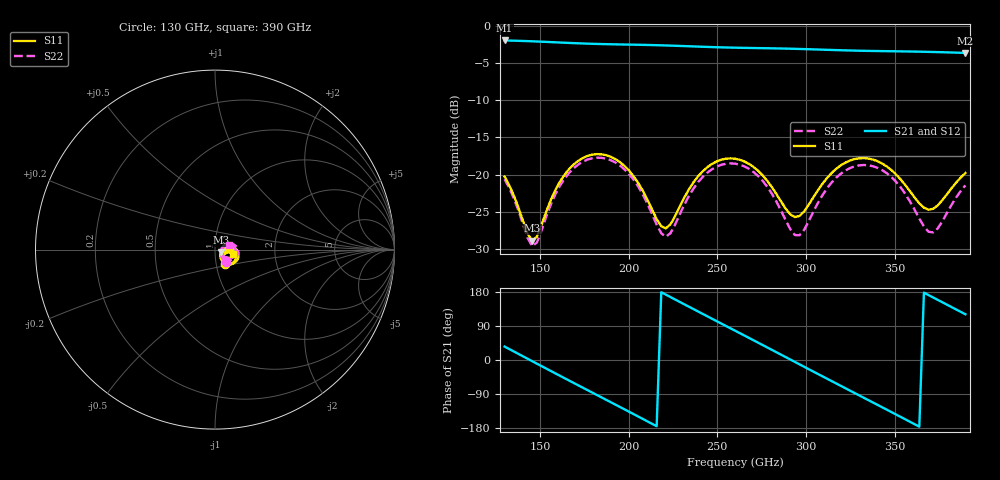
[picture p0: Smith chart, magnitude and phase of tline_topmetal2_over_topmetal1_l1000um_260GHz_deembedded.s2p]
! Created with skrf 2.0.1 (http://scikit-rf.org).
# GHz S DB R 50.0
!freq dBS11 angS11 dBS21 angS21 dBS12 angS12 dBS22 angS22
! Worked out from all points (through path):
!   101 points, 130 GHz to 390 GHz, reference 50 ohm
!   highest |S21| = -1.91 dB at 130 GHz (marker M1); lowest = -3.6 dB at 390 GHz (marker M2)
!   group delay of S21, straight-line fit = 6.78 ps
!   lowest |S11| = -28.9 dB at 145.6 GHz (marker M3), VSWR 1.07, Z = 53.3 - j1.57 ohm
!   |S11| at or under -10 dB: start of sweep to end of sweep
!   |S22| runs from -29.7 to -17.7 dB; largest |S21 - S12| = 8.7e-14
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130  -20.29 -55.2  -1.91 35.4  -1.91 35.4  -20.63 -46.8
145.6  -28.93 -24.3  -2.03 -3.2  -2.03 -3.2  -29.66 -15.5
158.6  -22.11 14.1  -2.16 -35.2  -2.16 -35.2  -22.68 26.2
174.2  -17.76 -6.5  -2.32 -73.2  -2.32 -73.2  -18.26 6.4
184.6  -17.27 -24.6  -2.40 -98.5  -2.40 -98.5  -17.74 -11.2
195  -18.31 -41.8  -2.45 -123.8  -2.45 -123.8  -18.77 -28.2
208  -22.20 -55.0  -2.51 -155.6  -2.51 -155.6  -22.70 -41.8
218.4  -26.98 -35.2  -2.57 178.9  -2.57 178.9  -27.93 -22.8
223.6  -26.71 -10.8  -2.61 166.1  -2.61 166.1  -27.91 4.3
241.8  -19.56 -1.9  -2.76 121.6  -2.76 121.6  -20.32 16.2
260  -17.87 -28.9  -2.89 77.4  -2.89 77.4  -18.53 -11.1
270.4  -18.97 -43.7  -2.93 52.1  -2.93 52.1  -19.65 -26.8
283.4  -22.64 -51.6  -2.99 20.4  -2.99 20.4  -23.67 -37.4
293.8  -25.74 -29.5  -3.04 -5.1  -3.04 -5.1  -28.16 -13.5
304.2  -23.08 -4.1  -3.11 -30.5  -3.11 -30.5  -25.03 22.2
317.2  -19.21 -9.3  -3.21 -62.2  -3.21 -62.2  -20.40 17.0
327.6  -17.91 -22.8  -3.28 -87.4  -3.28 -87.4  -18.89 2.5
338  -17.99 -37.6  -3.33 -112.6  -3.33 -112.6  -18.89 -13.5
348.4  -19.44 -49.9  -3.37 -137.8  -3.37 -137.8  -20.38 -27.9
361.4  -23.11 -50.9  -3.41 -169.5  -3.41 -169.5  -24.78 -33.1
371.8  -24.63 -26.8  -3.47 165.0  -3.47 165.0  -27.82 -2.1
390  -19.80 -14.2  -3.59 120.7  -3.59 120.7  -21.46 19.0
